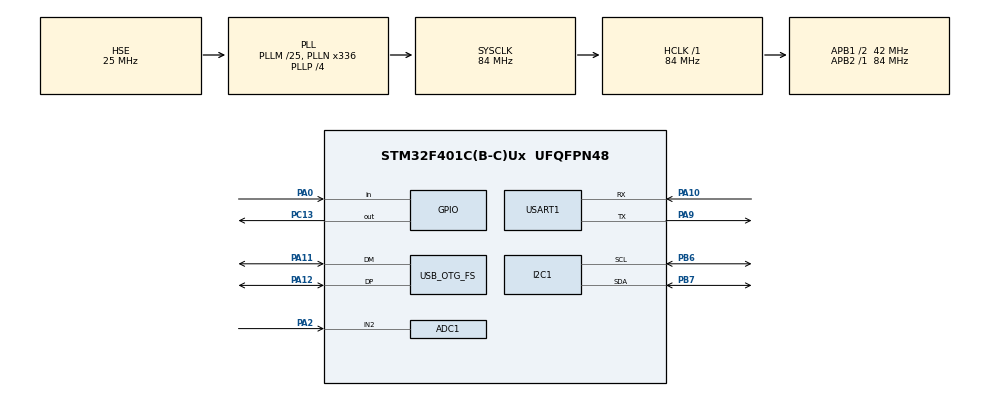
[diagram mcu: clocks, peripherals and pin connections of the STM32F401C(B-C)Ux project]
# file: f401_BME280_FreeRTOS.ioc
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ADC1.Channel-0\#ChannelRegularConversion=ADC_CHANNEL_2
ADC1.NbrOfConversionFlag=1
ADC1.Rank-0\#ChannelRegularConversion=1
ADC1.SamplingTime-0\#ChannelRegularConversion=ADC_SAMPLETIME_3CYCLES
ADC1.master=1
FREERTOS.CountingSemaphores01=UART_DataCountingSem01,10,Dynamic,NULL;USB_DataCountingSem,10,Dynamic,NULL
FREERTOS.Mutexes01=USB_Mutex,Dynamic,NULL
FREERTOS.Queues01=UART_queue,16,UART_Queue_t,0,Dynamic,NULL,NULL;I2C_Queue,8,I2C_Queue_t,0,Dynamic,NULL,NULL
FREERTOS.Tasks01=Stab_indicat_ta,16,128,StartStabIndicationTask,Default,NULL,Dynamic,NULL,NULL;UART_Task,40,128,StartUART_Task,Default,NULL,Dynamic,NULL,NULL;ADC_Task,8,128,StartADC_Task,Default,NULL,Dynamic,NULL,NULL;I2C_Task,8,1024,StartI2C_Task,Default,NULL,Dynamic,NULL,NULL;BtnReadTask,40,128,StartBtnReadTask,Default,NULL,Dynamic,NULL,NULL;DataReqTas,24,512,StartDataReqTask,Default,NULL,Dynamic,NULL,NULL;CheckConnTask,8,128,StartCheckConnTask,Default,NULL,Dynamic,NULL,NULL
FREERTOS.configTOTAL_HEAP_SIZE=30720
FREERTOS.configUSE_NEWLIB_REENTRANT=1
IWDG.Prescaler=IWDG_PRESCALER_64
Mcu.Family=STM32F4
Mcu.Name=STM32F401C(B-C)Ux
Mcu.Package=UFQFPN48
NVIC.I2C1_ER_IRQn=true\:5\:0\:false\:false\:true\:true\:true\:true\:true
NVIC.I2C1_EV_IRQn=true\:5\:0\:false\:false\:true\:true\:true\:true\:true
NVIC.OTG_FS_IRQn=true\:5\:0\:false\:false\:true\:true\:false\:true\:true
NVIC.PriorityGroup=NVIC_PRIORITYGROUP_4
NVIC.TIM1_BRK_TIM9_IRQn=true\:15\:0\:false\:false\:true\:false\:false\:true\:true
NVIC.TimeBase=TIM1_BRK_TIM9_IRQn
NVIC.TimeBaseIP=TIM9
NVIC.USART1_IRQn=true\:5\:0\:false\:false\:true\:true\:true\:true\:true
PA0-WKUP.GPIO_PuPd=GPIO_PULLUP
PA0-WKUP.Signal=GPIO_Input
PA10.Mode=Asynchronous
PA10.Signal=USART1_RX
PA11.Mode=Device_Only
PA11.Signal=USB_OTG_FS_DM
PA12.Mode=Device_Only
PA12.Signal=USB_OTG_FS_DP
PA2.Signal=ADCx_IN2
PA9.Mode=Asynchronous
PA9.Signal=USART1_TX
PB6.Mode=I2C
PB6.Signal=I2C1_SCL
PB7.Mode=I2C
PB7.Signal=I2C1_SDA
PC13-ANTI_TAMP.Signal=GPIO_Output
PH0\ -\ OSC_IN.Mode=HSE-External-Oscillator
PH0\ -\ OSC_IN.Signal=RCC_OSC_IN
PH1\ -\ OSC_OUT.Mode=HSE-External-Oscillator
PH1\ -\ OSC_OUT.Signal=RCC_OSC_OUT
ProjectManager.HeapSize=0x200
ProjectManager.StackSize=0x400
ProjectManager.TargetToolchain=STM32CubeIDE
RCC.48MHZClocksFreq_Value=48000000
RCC.AHBFreq_Value=84000000
RCC.APB1CLKDivider=RCC_HCLK_DIV2
RCC.APB1Freq_Value=42000000
RCC.APB1TimFreq_Value=84000000
RCC.APB2Freq_Value=84000000
RCC.APB2TimFreq_Value=84000000
RCC.CortexFreq_Value=84000000
RCC.HCLKFreq_Value=84000000
RCC.HSE_VALUE=25000000
RCC.HSI_VALUE=16000000
RCC.LSE_VALUE=32768
RCC.PLLM=25
RCC.PLLN=336
RCC.PLLP=RCC_PLLP_DIV4
RCC.PLLQ=7
RCC.SYSCLKFreq_VALUE=84000000
RCC.SYSCLKSource=RCC_SYSCLKSOURCE_PLLCLK
RCC.VCOOutputFreq_Value=336000000
SH.ADCx_IN2.0=ADC1_IN2,IN2
USART1.VirtualMode=VM_ASYNC
USB_DEVICE.CLASS_NAME_FS=CDC
USB_DEVICE.VirtualMode=Cdc
USB_DEVICE.VirtualModeFS=Cdc_FS
USB_OTG_FS.VirtualMode=Device_Only
VP_FREERTOS_VS_CMSIS_V2.Mode=CMSIS_V2
VP_IWDG_VS_IWDG.Mode=IWDG_Activate
VP_SYS_VS_tim9.Mode=TIM9
VP_USB_DEVICE_VS_USB_DEVICE_CDC_FS.Mode=CDC_FS
board=custom

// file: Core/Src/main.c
/* USER CODE BEGIN Header */
/**
  ******************************************************************************
  * @file           : main.c
  * @brief          : Main program body
  ******************************************************************************
  * @attention
  *
  * Copyright (c) 2022 STMicroelectronics.
  * All rights reserved.
  *
  * This software is licensed under terms that can be found in the LICENSE file
  * in the root directory of this software component.
  * If no LICENSE file comes with this software, it is provided AS-IS.
  *
  ******************************************************************************
  */
/* USER CODE END Header */
#include "main.h"
#include "cmsis_os.h"
#include "usb_device.h"

/* USER CODE BEGIN Includes */
#include "usbd_cdc_if.h"
#include <stdio.h>
#include <string.h>
#include "BME280_FreeRTOS.h"
/* USER CODE END Includes */

ADC_HandleTypeDef hadc1;

I2C_HandleTypeDef hi2c1;

IWDG_HandleTypeDef hiwdg;

UART_HandleTypeDef huart1;

/* Definitions for Stab_indicat_ta */
osThreadId_t Stab_indicat_taHandle;
const osThreadAttr_t Stab_indicat_ta_attributes = {
  .name = "Stab_indicat_ta",
  .stack_size = 128 * 4,
  .priority = (osPriority_t) osPriorityBelowNormal,
};
/* Definitions for UART_Task */
osThreadId_t UART_TaskHandle;
const osThreadAttr_t UART_Task_attributes = {
  .name = "UART_Task",
  .stack_size = 128 * 4,
  .priority = (osPriority_t) osPriorityHigh,
};
/* Definitions for ADC_Task */
osThreadId_t ADC_TaskHandle;
const osThreadAttr_t ADC_Task_attributes = {
  .name = "ADC_Task",
  .stack_size = 128 * 4,
  .priority = (osPriority_t) osPriorityLow,
};
/* Definitions for I2C_Task */
osThreadId_t I2C_TaskHandle;
const osThreadAttr_t I2C_Task_attributes = {
  .name = "I2C_Task",
  .stack_size = 1024 * 4,
  .priority = (osPriority_t) osPriorityLow,
};
/* Definitions for BtnReadTask */
osThreadId_t BtnReadTaskHandle;
const osThreadAttr_t BtnReadTask_attributes = {
  .name = "BtnReadTask",
  .stack_size = 128 * 4,
  .priority = (osPriority_t) osPriorityHigh,
};
/* Definitions for DataReqTas */
osThreadId_t DataReqTasHandle;
const osThreadAttr_t DataReqTas_attributes = {
  .name = "DataReqTas",
  .stack_size = 512 * 4,
  .priority = (osPriority_t) osPriorityNormal,
};
/* Definitions for CheckConnTask */
osThreadId_t CheckConnTaskHandle;
const osThreadAttr_t CheckConnTask_attributes = {
  .name = "CheckConnTask",
  .stack_size = 128 * 4,
  .priority = (osPriority_t) osPriorityLow,
};
/* Definitions for UART_queue */
osMessageQueueId_t UART_queueHandle;
const osMessageQueueAttr_t UART_queue_attributes = {
  .name = "UART_queue"
};
/* Definitions for I2C_Queue */
osMessageQueueId_t I2C_QueueHandle;
const osMessageQueueAttr_t I2C_Queue_attributes = {
  .name = "I2C_Queue"
};
/* Definitions for USB_Mutex */
osMutexId_t USB_MutexHandle;
const osMutexAttr_t USB_Mutex_attributes = {
  .name = "USB_Mutex"
};
/* Definitions for UART_DataCountingSem01 */
osSemaphoreId_t UART_DataCountingSem01Handle;
const osSemaphoreAttr_t UART_DataCountingSem01_attributes = {
  .name = "UART_DataCountingSem01"
};
/* Definitions for USB_DataCountingSem */
osSemaphoreId_t USB_DataCountingSemHandle;
const osSemaphoreAttr_t USB_DataCountingSem_attributes = {
  .name = "USB_DataCountingSem"
};
/* USER CODE BEGIN PV */
extern BME280_Calibrate_parametrs BME280_Cal_par;
typedef struct{
	char buff[100];
}UART_Queue_t;
typedef struct{
	uint8_t value;
	uint8_t nom_of_func;
	uint8_t * result;
	uint8_t set_parameters[3];
	float * result_float;
	void (* ptr_check_con)(uint8_t * result);
	void (* ptr_set_one_par)(uint8_t value);
	void (* ptr_set_three_par)(uint8_t par1,uint8_t par2,uint8_t par3);
	void (* ptr_void)();
	void (* ptr_read_value)(float * result);
}I2C_Queue_t;

enum {
	FUNC_VOID,
	FUNC_PTR_UINT8,
	FUNC_UINT8,
	FUNC_PTR_FLOAT,
	FUNC_THREE_UINT8
}NOM_OF_FUNC;

uint8_t conection_status;
uint8_t status_mode;

enum{
	NORMAL_WORK,
	DEBUG_WORK,
	WARNING_WORK,
	ERROR_WORK
}STATUS_OF_WORK;

struct oversamling_and_mode{
	  uint8_t o_temp;
	  uint8_t o_press;
	  uint8_t o_hum;
	  uint8_t mode;
}om;
struct stndbyTime_filter_SPI{
	uint8_t standby_time;
	uint8_t filter;
	uint8_t SPI_three_wire;
}conf_sfs;
/* USER CODE END PV */

void SystemClock_Config(void);
static void MX_GPIO_Init(void);
static void MX_ADC1_Init(void);
static void MX_I2C1_Init(void);
static void MX_IWDG_Init(void);
static void MX_USART1_UART_Init(void);
void StartStabIndicationTask(void *argument);
void StartUART_Task(void *argument);
void StartADC_Task(void *argument);
void StartI2C_Task(void *argument);
void StartBtnReadTask(void *argument);
void StartDataReqTask(void *argument);
void StartCheckConnTask(void *argument);

/* USER CODE BEGIN PFP */
void bme_init_queues();
/* USER CODE END PFP */

int main(void)
{

  /* MCU Configuration--------------------------------------------------------*/

  /* Reset of all peripherals, Initializes the Flash interface and the Systick. */
  HAL_Init();

  /* Configure the system clock */
  SystemClock_Config();

  /* Initialize all configured peripherals */
  MX_GPIO_Init();
  MX_ADC1_Init();
  MX_I2C1_Init();
  MX_IWDG_Init();
  MX_USART1_UART_Init();
  /* USER CODE BEGIN 2 */
  if(HAL_GPIO_ReadPin(GPIOA, GPIO_PIN_0) == GPIO_PIN_RESET){
	  status_mode = DEBUG_WORK;
  }else{
	  status_mode = NORMAL_WORK;
  }
  /* USER CODE END 2 */

  /* Init scheduler */
  osKernelInitialize();
  /* Create the mutex(es) */
  /* creation of USB_Mutex */
  USB_MutexHandle = osMutexNew(&USB_Mutex_attributes);

  /* Create the semaphores(s) */
  /* creation of UART_DataCountingSem01 */
  UART_DataCountingSem01Handle = osSemaphoreNew(10, 10, &UART_DataCountingSem01_attributes);

  /* creation of USB_DataCountingSem */
  USB_DataCountingSemHandle = osSemaphoreNew(10, 10, &USB_DataCountingSem_attributes);

  /* Create the queue(s) */
  /* creation of UART_queue */
  UART_queueHandle = osMessageQueueNew (16, sizeof(UART_Queue_t), &UART_queue_attributes);

  /* creation of I2C_Queue */
  I2C_QueueHandle = osMessageQueueNew (8, sizeof(I2C_Queue_t), &I2C_Queue_attributes);

  /* Create the thread(s) */
  /* creation of Stab_indicat_ta */
  Stab_indicat_taHandle = osThreadNew(StartStabIndicationTask, NULL, &Stab_indicat_ta_attributes);

  /* creation of UART_Task */
  UART_TaskHandle = osThreadNew(StartUART_Task, NULL, &UART_Task_attributes);

  /* creation of ADC_Task */
  ADC_TaskHandle = osThreadNew(StartADC_Task, NULL, &ADC_Task_attributes);

  /* creation of I2C_Task */
  I2C_TaskHandle = osThreadNew(StartI2C_Task, NULL, &I2C_Task_attributes);

  /* creation of BtnReadTask */
  BtnReadTaskHandle = osThreadNew(StartBtnReadTask, NULL, &BtnReadTask_attributes);

  /* creation of DataReqTas */
  DataReqTasHandle = osThreadNew(StartDataReqTask, NULL, &DataReqTas_attributes);

  /* creation of CheckConnTask */
  CheckConnTaskHandle = osThreadNew(StartCheckConnTask, NULL, &CheckConnTask_attributes);

  /* USER CODE BEGIN RTOS_EVENTS */
  /* add events, ... */
  bme_init_queues();
  /* USER CODE END RTOS_EVENTS */

  /* Start scheduler */
  osKernelStart();

  /* We should never get here as control is now taken by the scheduler */
  /* Infinite loop */
  while (1)
  {

  }
}

void SystemClock_Config(void)
{
  RCC_OscInitTypeDef RCC_OscInitStruct = {0};
  RCC_ClkInitTypeDef RCC_ClkInitStruct = {0};

  /** Configure the main internal regulator output voltage
  */
  __HAL_RCC_PWR_CLK_ENABLE();
  __HAL_PWR_VOLTAGESCALING_CONFIG(PWR_REGULATOR_VOLTAGE_SCALE2);

  /** Initializes the RCC Oscillators according to the specified parameters
  * in the RCC_OscInitTypeDef structure.
  */
  RCC_OscInitStruct.OscillatorType = RCC_OSCILLATORTYPE_LSI|RCC_OSCILLATORTYPE_HSE;
  RCC_OscInitStruct.HSEState = RCC_HSE_ON;
  RCC_OscInitStruct.LSIState = RCC_LSI_ON;
  RCC_OscInitStruct.PLL.PLLState = RCC_PLL_ON;
  RCC_OscInitStruct.PLL.PLLSource = RCC_PLLSOURCE_HSE;
  RCC_OscInitStruct.PLL.PLLM = 25;
  RCC_OscInitStruct.PLL.PLLN = 336;
  RCC_OscInitStruct.PLL.PLLP = RCC_PLLP_DIV4;
  RCC_OscInitStruct.PLL.PLLQ = 7;
  if (HAL_RCC_OscConfig(&RCC_OscInitStruct) != HAL_OK)
  {
    Error_Handler();
  }

  /** Initializes the CPU, AHB and APB buses clocks
  */
  RCC_ClkInitStruct.ClockType = RCC_CLOCKTYPE_HCLK|RCC_CLOCKTYPE_SYSCLK
                              |RCC_CLOCKTYPE_PCLK1|RCC_CLOCKTYPE_PCLK2;
  RCC_ClkInitStruct.SYSCLKSource = RCC_SYSCLKSOURCE_PLLCLK;
  RCC_ClkInitStruct.AHBCLKDivider = RCC_SYSCLK_DIV1;
  RCC_ClkInitStruct.APB1CLKDivider = RCC_HCLK_DIV2;
  RCC_ClkInitStruct.APB2CLKDivider = RCC_HCLK_DIV1;

  if (HAL_RCC_ClockConfig(&RCC_ClkInitStruct, FLASH_LATENCY_2) != HAL_OK)
  {
    Error_Handler();
  }
}

static void MX_ADC1_Init(void)
{

  ADC_ChannelConfTypeDef sConfig = {0};

  /** Configure the global features of the ADC (Clock, Resolution, Data Alignment and number of conversion)
  */
  hadc1.Instance = ADC1;
  hadc1.Init.ClockPrescaler = ADC_CLOCK_SYNC_PCLK_DIV4;
  hadc1.Init.Resolution = ADC_RESOLUTION_12B;
  hadc1.Init.ScanConvMode = DISABLE;
  hadc1.Init.ContinuousConvMode = DISABLE;
  hadc1.Init.DiscontinuousConvMode = DISABLE;
  hadc1.Init.ExternalTrigConvEdge = ADC_EXTERNALTRIGCONVEDGE_NONE;
  hadc1.Init.ExternalTrigConv = ADC_SOFTWARE_START;
  hadc1.Init.DataAlign = ADC_DATAALIGN_RIGHT;
  hadc1.Init.NbrOfConversion = 1;
  hadc1.Init.DMAContinuousRequests = DISABLE;
  hadc1.Init.EOCSelection = ADC_EOC_SINGLE_CONV;
  if (HAL_ADC_Init(&hadc1) != HAL_OK)
  {
    Error_Handler();
  }

  /** Configure for the selected ADC regular channel its corresponding rank in the sequencer and its sample time.
  */
  sConfig.Channel = ADC_CHANNEL_2;
  sConfig.Rank = 1;
  sConfig.SamplingTime = ADC_SAMPLETIME_3CYCLES;
  if (HAL_ADC_ConfigChannel(&hadc1, &sConfig) != HAL_OK)
  {
    Error_Handler();
  }

}

static void MX_I2C1_Init(void)
{

  hi2c1.Instance = I2C1;
  hi2c1.Init.ClockSpeed = 100000;
  hi2c1.Init.DutyCycle = I2C_DUTYCYCLE_2;
  hi2c1.Init.OwnAddress1 = 0;
  hi2c1.Init.AddressingMode = I2C_ADDRESSINGMODE_7BIT;
  hi2c1.Init.DualAddressMode = I2C_DUALADDRESS_DISABLE;
  hi2c1.Init.OwnAddress2 = 0;
  hi2c1.Init.GeneralCallMode = I2C_GENERALCALL_DISABLE;
  hi2c1.Init.NoStretchMode = I2C_NOSTRETCH_DISABLE;
  if (HAL_I2C_Init(&hi2c1) != HAL_OK)
  {
    Error_Handler();
  }

}

static void MX_IWDG_Init(void)
{

  hiwdg.Instance = IWDG;
  hiwdg.Init.Prescaler = IWDG_PRESCALER_64;
  hiwdg.Init.Reload = 4095;
  if (HAL_IWDG_Init(&hiwdg) != HAL_OK)
  {
    Error_Handler();
  }

}

static void MX_USART1_UART_Init(void)
{

  huart1.Instance = USART1;
  huart1.Init.BaudRate = 115200;
  huart1.Init.WordLength = UART_WORDLENGTH_8B;
  huart1.Init.StopBits = UART_STOPBITS_1;
  huart1.Init.Parity = UART_PARITY_NONE;
  huart1.Init.Mode = UART_MODE_TX_RX;
  huart1.Init.HwFlowCtl = UART_HWCONTROL_NONE;
  huart1.Init.OverSampling = UART_OVERSAMPLING_16;
  if (HAL_UART_Init(&huart1) != HAL_OK)
  {
    Error_Handler();
  }

}

static void MX_GPIO_Init(void)
{
  GPIO_InitTypeDef GPIO_InitStruct = {0};

  /* GPIO Ports Clock Enable */
  __HAL_RCC_GPIOC_CLK_ENABLE();
  __HAL_RCC_GPIOH_CLK_ENABLE();
  __HAL_RCC_GPIOA_CLK_ENABLE();
  __HAL_RCC_GPIOB_CLK_ENABLE();

  /*Configure GPIO pin Output Level */
  HAL_GPIO_WritePin(GPIOC, GPIO_PIN_13, GPIO_PIN_RESET);

  /*Configure GPIO pin : PC13 */
  GPIO_InitStruct.Pin = GPIO_PIN_13;
  GPIO_InitStruct.Mode = GPIO_MODE_OUTPUT_PP;
  GPIO_InitStruct.Pull = GPIO_NOPULL;
  GPIO_InitStruct.Speed = GPIO_SPEED_FREQ_LOW;
  HAL_GPIO_Init(GPIOC, &GPIO_InitStruct);

  /*Configure GPIO pin : PA0 */
  GPIO_InitStruct.Pin = GPIO_PIN_0;
  GPIO_InitStruct.Mode = GPIO_MODE_INPUT;
  GPIO_InitStruct.Pull = GPIO_PULLUP;
  HAL_GPIO_Init(GPIOA, &GPIO_InitStruct);

}

/* USER CODE BEGIN 4 */
void bme_init_queues(){
	I2C_Queue_t i2c_msg;
	i2c_msg.result = &conection_status;
	i2c_msg.nom_of_func = FUNC_PTR_UINT8;
	i2c_msg.ptr_check_con = BME280_Check_Conection;
	osMessageQueuePut(I2C_QueueHandle, &i2c_msg, 0, osWaitForever);
	UART_Queue_t uart_msg;
	sprintf(uart_msg.buff, "\r\nConnection to BME280 status: 0x%x\r\n", conection_status);
	osMessageQueuePut(UART_queueHandle, &uart_msg, 0, osWaitForever);

	i2c_msg.ptr_void = BME280_ReadCalibration;
	i2c_msg.nom_of_func = FUNC_VOID;
	osMessageQueuePut(I2C_QueueHandle, &i2c_msg, 0, osWaitForever);

	i2c_msg.nom_of_func = FUNC_UINT8;
	i2c_msg.value = BME280_OVERSAMPLING_X8;
	i2c_msg.ptr_set_one_par = BME280_SetOversamplingHum;
	osMessageQueuePut(I2C_QueueHandle, &i2c_msg, 0, osWaitForever);

	i2c_msg.nom_of_func = FUNC_THREE_UINT8;
	i2c_msg.set_parameters[0] = BME280_OVERSAMPLING_X4;
	i2c_msg.set_parameters[1] = BME280_OVERSAMPLING_X4;
	i2c_msg.set_parameters[2] = BME280_MODE_NORMAL;
	i2c_msg.ptr_set_three_par = BME280_SetOversampling;
	osMessageQueuePut(I2C_QueueHandle, &i2c_msg, 0, osWaitForever);

	i2c_msg.result = &om;
	i2c_msg.nom_of_func = FUNC_PTR_UINT8;
	i2c_msg.ptr_check_con = BME280_GetOversamplingMode;
	osMessageQueuePut(I2C_QueueHandle, &i2c_msg, 0, osWaitForever);

	i2c_msg.nom_of_func = FUNC_THREE_UINT8;
	i2c_msg.set_parameters[0] = BME280_STANDBY_TIME_10;
	i2c_msg.set_parameters[1] = BME280_FILTER_4;
	i2c_msg.set_parameters[2] = BME280_3WIRE_SPI_OFF;
	i2c_msg.ptr_set_three_par = BME280_SetConfig;
	osMessageQueuePut(I2C_QueueHandle, &i2c_msg, 0, osWaitForever);

	i2c_msg.nom_of_func = FUNC_PTR_UINT8;
	i2c_msg.result = &conf_sfs;
	i2c_msg.ptr_check_con = BME280_GetConfig;
	osMessageQueuePut(I2C_QueueHandle, &i2c_msg, 0, osWaitForever);

}
/* USER CODE END 4 */

void StartStabIndicationTask(void *argument)
{
  /* init code for USB_DEVICE */
  MX_USB_DEVICE_Init();
  /* USER CODE BEGIN 5 */
	UART_Queue_t msg;
    osDelay(100);
	 sprintf(msg.buff, "\n\rPrinting calibration parameters:\n\rT1: %d\n\rT2: %d\n\rT3: %d\n\r", BME280_Cal_par.T1, BME280_Cal_par.T2, BME280_Cal_par.T3);
	 osMessageQueuePut(UART_queueHandle, &msg, 0, osWaitForever);
	 sprintf(msg.buff, "P1: %d\n\rP2: %d\n\rP3: %d\n\rP4: %d\n\rP5: %d\n\rP6: %d\n\rP7: %d\n\rP8: %d\n\rP9: %d\n\r", BME280_Cal_par.P1, BME280_Cal_par.P2, BME280_Cal_par.P3, BME280_Cal_par.P4, BME280_Cal_par.P5, BME280_Cal_par.P6, BME280_Cal_par.P7, BME280_Cal_par.P8, BME280_Cal_par.P9);
	 osMessageQueuePut(UART_queueHandle, &msg, 0, osWaitForever);
	 sprintf(msg.buff, "H1: %d\n\rH2: %d\n\rH3: %d\n\rH4: %d\n\rH5: %d\n\rH6: %d\n\r", BME280_Cal_par.H1, BME280_Cal_par.H2, BME280_Cal_par.H3, BME280_Cal_par.H4, BME280_Cal_par.H6);
	 osMessageQueuePut(UART_queueHandle, &msg, 0, osWaitForever);
	 sprintf(msg.buff, "\n\rOversamlping and mode:\n\rTemp: %d\n\rPress: %d\n\rHum: %d\n\rMode: %d\n\r", om.o_temp, om.o_press, om.o_hum, om.mode);
	 osMessageQueuePut(UART_queueHandle, &msg, 0, osWaitForever);
	 sprintf(msg.buff, "\n\rStandby time, filter and SPI 3-wire:\n\rStandby time: %d\n\rFilter: %d\n\rSPI 3-wire: %d\n\r", conf_sfs.standby_time, conf_sfs.filter, conf_sfs.SPI_three_wire);
	 osMessageQueuePut(UART_queueHandle, &msg, 0, osWaitForever);
  /* Infinite loop */
  for(;;)
  {
	HAL_GPIO_TogglePin(GPIOC, GPIO_PIN_13);
	HAL_IWDG_Refresh(&hiwdg);
	if (status_mode == DEBUG_WORK){
		sprintf(msg.buff, "Toggle led\r\n");
		osMessageQueuePut(UART_queueHandle, &msg, 0, osWaitForever);
	}
	switch (status_mode){
	case DEBUG_WORK: osDelay(150);
	case NORMAL_WORK: osDelay(500);break;
	case ERROR_WORK: osDelay(50);break;
	case WARNING_WORK: osDelay(250);break;
	}

  }
  /* USER CODE END 5 */
}

void StartUART_Task(void *argument)
{
  /* USER CODE BEGIN StartUART_Task */
	UART_Queue_t msg;
  /* Infinite loop */
  for(;;)
  {
    osMessageQueueGet(UART_queueHandle, &msg, 0, osWaitForever);
    HAL_UART_Transmit(&huart1, &msg.buff, strlen(msg.buff), osWaitForever);
  }
  /* USER CODE END StartUART_Task */
}

void StartADC_Task(void *argument)
{
  /* USER CODE BEGIN StartADC_Task */
	UART_Queue_t msg;
	uint16_t last_adc[5];
  /* Infinite loop */
  for(;;)
  {
    HAL_ADC_Start(&hadc1);
    uint16_t adc_value;
    adc_value = HAL_ADC_GetValue(&hadc1);
    for (uint8_t i = 0; i < 4; i++){
    	last_adc[i] = last_adc[i + 1];
    }
    last_adc[4] = adc_value;

    uint8_t warning_adc = 0;
    for (uint8_t i = 0; i < 5; i++){
    	if (last_adc[i] == 0){
    		warning_adc = 1;
    	}else{
    		warning_adc = 0;
    		break;
    	}
    }
    if (warning_adc == 1){
    	status_mode = WARNING_WORK;
    }else{
    	if (status_mode != ERROR_WORK || status_mode != DEBUG_WORK){
    		status_mode = NORMAL_WORK;
    	}
    }
    sprintf(msg.buff, "ADC value: %d\r\n", adc_value);
    osMessageQueuePut(UART_queueHandle, &msg, 0, osWaitForever);
    osDelay(1000);
  }
  /* USER CODE END StartADC_Task */
}

void StartI2C_Task(void *argument)
{
  /* USER CODE BEGIN StartI2C_Task */
	I2C_Queue_t msg;
  /* Infinite loop */
  for(;;)
  {
	  osMessageQueueGet(I2C_QueueHandle, &msg, 0, osWaitForever);
	  switch(msg.nom_of_func){
	  case FUNC_UINT8: msg.ptr_set_one_par(msg.value);break;
	  case FUNC_PTR_UINT8: msg.ptr_check_con(msg.result);break;
	  case FUNC_VOID: msg.ptr_void();break;
	  case FUNC_THREE_UINT8: msg.ptr_set_three_par(msg.set_parameters[0],msg.set_parameters[1],msg.set_parameters[2]);break;
	  case FUNC_PTR_FLOAT: msg.ptr_read_value(msg.result_float);break;
	  default: {
		  UART_Queue_t uart_msg;
		  sprintf(uart_msg.buff, "Error value of nom_of_func\r\n");
		  osMessageQueuePut(UART_queueHandle, &uart_msg, 0, osWaitForever);
	  }break;
	  }
  }
  /* USER CODE END StartI2C_Task */
}

void StartBtnReadTask(void *argument)
{
  /* USER CODE BEGIN StartBtnReadTask */
	UART_Queue_t msg;
  /* Infinite loop */
  for(;;)
  {
	static uint32_t timer_press;
    if(HAL_GPIO_ReadPin(GPIOA, GPIO_PIN_0)==GPIO_PIN_RESET){

    	if (status_mode == DEBUG_WORK){
    		sprintf(msg.buff, "Button pressed\r\n");
    		osMessageQueuePut(UART_queueHandle, &msg, 0, 100);
    	}

    	while(HAL_GPIO_ReadPin(GPIOA, GPIO_PIN_0)==GPIO_PIN_RESET){osDelay(1);}

    	uint32_t hold_time = HAL_GetTick() - timer_press;

    	/*Virtual COM Port*/
    	sprintf(msg.buff, "Time of hold: %d\r\n", hold_time);
    	osMutexAcquire(USB_MutexHandle, 250);
    	CDC_Transmit_FS(msg.buff, strlen(msg.buff));
    	osMutexRelease(USB_MutexHandle);

    	if (hold_time > 400){
    		osSemaphoreAcquire(USB_DataCountingSemHandle, 100);
    	}
    	if (hold_time > 20 && hold_time < 400){
    		if (status_mode == 1){
    			/*UART*/
    			sprintf(msg.buff, "Button relised\r\n");
    			osMessageQueuePut(UART_queueHandle, &msg, 0, 100);
    		}
    		osSemaphoreAcquire(UART_DataCountingSem01Handle, 100);
    	}

    }else{
    	timer_press = HAL_GetTick();
    }
    osDelay(1);
  }
  /* USER CODE END StartBtnReadTask */
}

void StartDataReqTask(void *argument)
{
  /* USER CODE BEGIN StartDataReqTask */
	UART_Queue_t msg;	//input uart message from queue
		I2C_Queue_t i2c_msg;
  /* Infinite loop */
  for(;;)
  {
	  /*===============If button was press=========================*/
	 	if (osSemaphoreRelease(UART_DataCountingSem01Handle) == HAL_OK){
	 		if (status_mode == 1){
	 			sprintf(msg.buff, "Button action\r\n");
	 			osMessageQueuePut(UART_queueHandle, &msg, 0, 100);
	 		}
	 		float temperature = 1000.0f, press = 0.0f, hum = 0.0f;

	 		i2c_msg.nom_of_func = FUNC_PTR_FLOAT;
	 		i2c_msg.ptr_read_value = BME280_GetTemperature;
	 		i2c_msg.result_float = &temperature;
	 		osMessageQueuePut(I2C_QueueHandle, &i2c_msg, 0, osWaitForever);
	 		while(temperature == 1000.0f){osDelay(10);}

	 		i2c_msg.nom_of_func = FUNC_PTR_FLOAT;
	 		i2c_msg.ptr_read_value = BME280_GetPressure;
	 		i2c_msg.result_float = &press;
	 		osMessageQueuePut(I2C_QueueHandle, &i2c_msg, 0, osWaitForever);

	 		i2c_msg.nom_of_func = FUNC_PTR_FLOAT;
	 		i2c_msg.ptr_read_value = BME280_GetHumidity;
	 		i2c_msg.result_float = &hum;
	 		osMessageQueuePut(I2C_QueueHandle, &i2c_msg, 0, osWaitForever);

	 		while (osMessageQueueGetCount(I2C_QueueHandle) != 0 ){osDelay(1);} // wait for end of all function

	 		/*=========Forming the buffer to uart queue and put in queue========*/
	 		sprintf(msg.buff, "\r\nTemperature: %.03f *C\r\nPressure: %.03f hPa\r\nHumidaty: %.03f %%\r\n\r\n", temperature, press/1000.0f, hum);
	 		osMessageQueuePut(UART_queueHandle, &msg, 0, 100);

	 	}
	 	/*=========If button was holded===========*/
	 	if (osSemaphoreRelease(USB_DataCountingSemHandle) == HAL_OK){
	 		float temperature = 1000.0f, press = 0.0f, hum = 0.0f;
	 		i2c_msg.nom_of_func = FUNC_PTR_FLOAT;
	 		i2c_msg.ptr_read_value = BME280_GetTemperature;
	 		i2c_msg.result_float = &temperature;
	 		osMessageQueuePut(I2C_QueueHandle, &i2c_msg, 0, osWaitForever);
	 		while(temperature == 1000.0f){osDelay(10);}

	 		i2c_msg.nom_of_func = FUNC_PTR_FLOAT;
	 		i2c_msg.ptr_read_value = BME280_GetPressure;
	 		i2c_msg.result_float = &press;
	 		osMessageQueuePut(I2C_QueueHandle, &i2c_msg, 0, osWaitForever);

	 		i2c_msg.nom_of_func = FUNC_PTR_FLOAT;
	 		i2c_msg.ptr_read_value = BME280_GetHumidity;
	 		i2c_msg.result_float = &hum;
	 		osMessageQueuePut(I2C_QueueHandle, &i2c_msg, 0, osWaitForever);

	 		while (osMessageQueueGetCount(I2C_QueueHandle) != 0 ){osDelay(1);} // wait for end of all function

	 		/*=========Forming the buffer to USB queue and put in queue========*/
	 		sprintf(msg.buff, "\r\nTemperature: %.03f *C\r\nPressure: %.03f hPa\r\nHumidaty: %.03f %%\r\n\r\n", temperature, press/1000.0f, hum);
	 		/*=========Mutex for USB======================*/
	 		osMutexAcquire(USB_MutexHandle, osWaitForever);
	 		CDC_Transmit_FS(msg.buff, strlen(msg.buff));
	 		osMutexRelease(USB_MutexHandle);
	 	}
	     osDelay(1);
  }
  /* USER CODE END StartDataReqTask */
}

void StartCheckConnTask(void *argument)
{
  /* USER CODE BEGIN StartCheckConnTask */
  /* Infinite loop */

	/*Regular check connection to BME280*/
  for(;;)
  {
	  /*Forming the queue to I2C, function BME280_Check_Conection*/
	  I2C_Queue_t i2c_msg;
	  i2c_msg.result = &conection_status;
	  i2c_msg.nom_of_func = FUNC_PTR_UINT8;
	  i2c_msg.ptr_check_con = BME280_Check_Conection;
	  osMessageQueuePut(I2C_QueueHandle, &i2c_msg, 0, osWaitForever);
	  /*If connection is failed*/
	  if (conection_status != HAL_OK){

		  status_mode = ERROR_WORK;

		  UART_Queue_t uart_msg;
		  sprintf(uart_msg.buff, "\r\nError connection\r\n");
		  osMessageQueuePut(UART_queueHandle, &uart_msg, 0, osWaitForever);

		  MX_I2C1_Init();
		  osDelay(10);
	  }
	  if (conection_status == HAL_OK && status_mode != WARNING_WORK && status_mode != DEBUG_WORK){
		  status_mode = NORMAL_WORK;
	  }
	  /*Forming the queue to UART transmit*/
	  UART_Queue_t uart_msg;
	  sprintf(uart_msg.buff, "\r\nConnection to BME280 status: 0x%x\r\n", conection_status);
	  osMessageQueuePut(UART_queueHandle, &uart_msg, 0, osWaitForever);

	  /*Fast request if is connection error */
	  if (conection_status == HAL_OK){
		  osDelay(5000);
	  }else{
		  osDelay(1);
	  }
  }
  /* USER CODE END StartCheckConnTask */
}

void HAL_TIM_PeriodElapsedCallback(TIM_HandleTypeDef *htim)
{
  if (htim->Instance == TIM9) {
    HAL_IncTick();
  }
}

void Error_Handler(void)
{
  __disable_irq();
  while (1)
  {
  }
}
